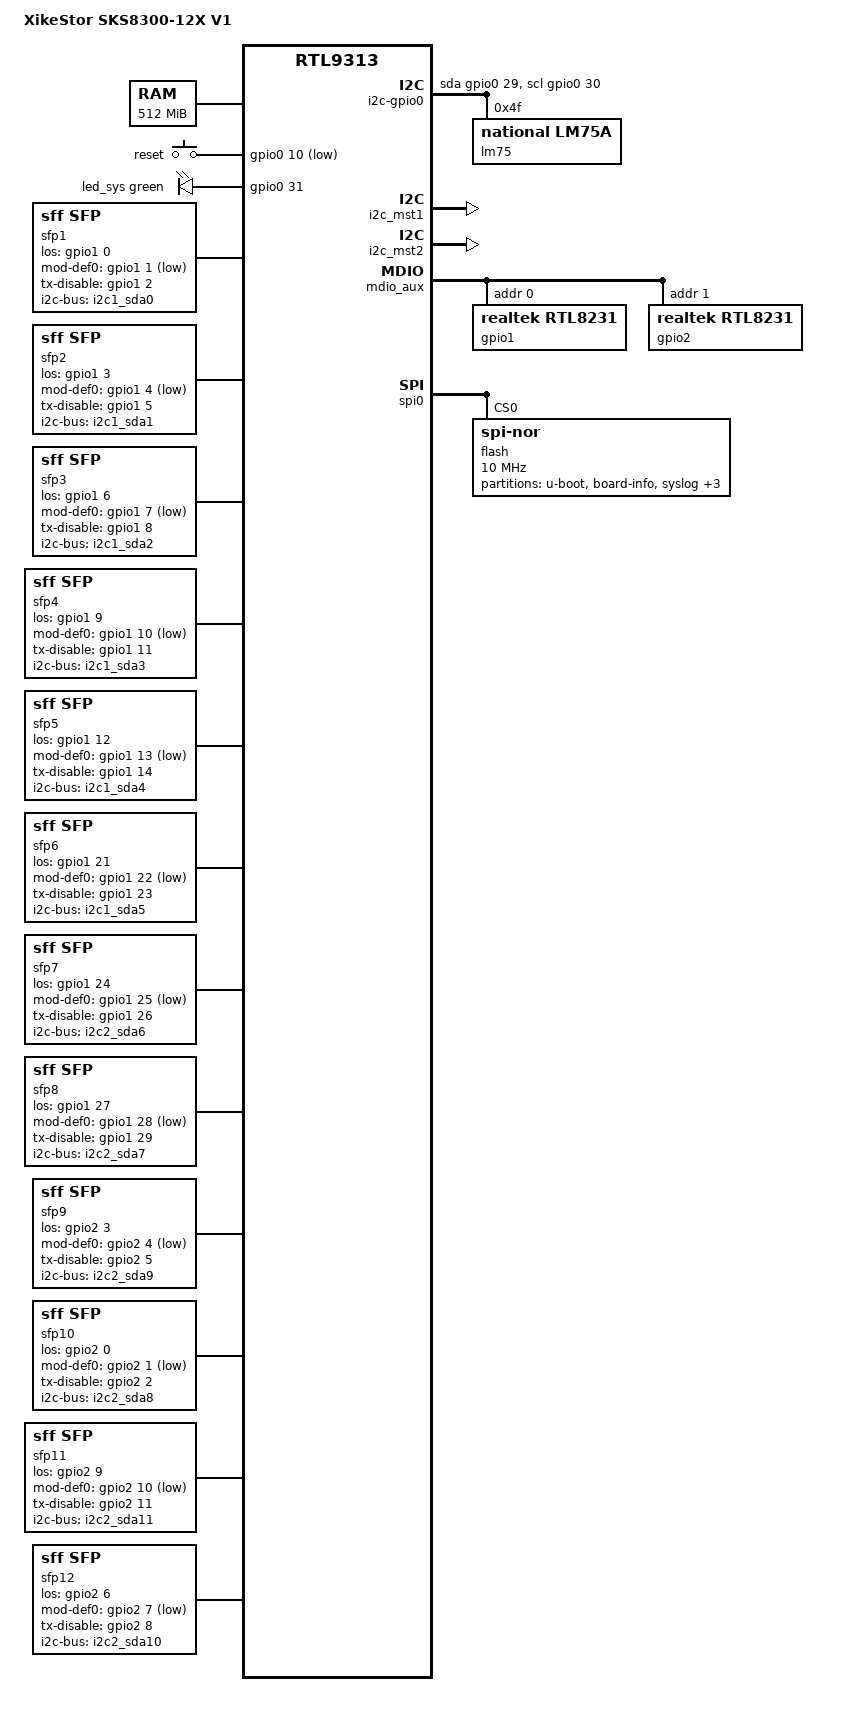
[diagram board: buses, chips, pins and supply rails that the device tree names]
// SPDX-License-Identifier: GPL-2.0-or-later

#include "rtl931x.dtsi"

#include <dt-bindings/input/input.h>
#include <dt-bindings/gpio/gpio.h>
#include <dt-bindings/leds/common.h>
#include <dt-bindings/phy/phy.h>

/ {
	compatible = "xikestor,sks8300-12x-v1", "realtek,rtl9313-soc";
	model = "XikeStor SKS8300-12X V1";

	memory@0 {
		device_type = "memory";
		reg = <0x00000000 0x10000000>, /* first 256 MiB */
		      <0x90000000 0x10000000>; /* remaining 256 MiB */
	};

	aliases {
		label-mac-device = &ethernet0;
		led-boot = &led_sys;
		led-failsafe = &led_sys;
		led-running = &led_sys;
		led-upgrade = &led_sys;
	};

	chosen {
		stdout-path = "serial0:115200n8";
	};

	keys {
		compatible = "gpio-keys";

		button-reset {
			label = "reset";
			gpios = <&gpio0 10 GPIO_ACTIVE_LOW>;
			linux,code = <KEY_RESTART>;
		};
	};

	leds {
		compatible = "gpio-leds";

		led_sys: led-0 {
			gpios = <&gpio0 31 GPIO_ACTIVE_HIGH>;
			color = <LED_COLOR_ID_GREEN>;
			function = LED_FUNCTION_STATUS;
		};
	};

	led_set {
		compatible = "realtek,rtl9300-leds";
		active-low;

		/* LED[0]: green | LED[1]: amber */
		led_set0 = <(RTL93XX_LED_SET_10G | RTL93XX_LED_SET_LINK |
			     RTL93XX_LED_SET_ACT)
			    (RTL93XX_LED_SET_2P5G | RTL93XX_LED_SET_1G |
			     RTL93XX_LED_SET_LINK | RTL93XX_LED_SET_ACT)>;
	};

	/*
	 * Diodes PT7A7514WE is fed by hardware-assisted SYS_LED. There is no
	 * real driver for this. However, this node causes a quirk being applied
	 * very early to avoid a reset during early boot.
	 */
	watchdog1: watchdog {
		compatible = "diodes,pt7a75xx-wdt";
	};

	i2c-gpio0 {
		compatible = "i2c-gpio";
		#address-cells = <1>;
		#size-cells = <0>;

		sda-gpios = <&gpio0 29 GPIO_ACTIVE_HIGH>;
		scl-gpios = <&gpio0 30 GPIO_ACTIVE_HIGH>;

		i2c-gpio,delay-us = <5>;	/* ~100 kHz */
		lm75: sensor@4f {
			compatible = "national,lm75a";
			reg = <0x4f>;
		};
	};

	sfp1: sfp-p1 {
		compatible = "sff,sfp";
		i2c-bus = <&i2c1_sda0>;
		los-gpio = <&gpio1 0 GPIO_ACTIVE_HIGH>;
		mod-def0-gpio = <&gpio1 1 GPIO_ACTIVE_LOW>;
		tx-disable-gpio = <&gpio1 2 GPIO_ACTIVE_HIGH>;
	};

	sfp2: sfp-p2 {
		compatible = "sff,sfp";
		i2c-bus = <&i2c1_sda1>;
		los-gpio = <&gpio1 3 GPIO_ACTIVE_HIGH>;
		mod-def0-gpio = <&gpio1 4 GPIO_ACTIVE_LOW>;
		tx-disable-gpio = <&gpio1 5 GPIO_ACTIVE_HIGH>;
	};

	sfp3: sfp-p3 {
		compatible = "sff,sfp";
		i2c-bus = <&i2c1_sda2>;
		los-gpio = <&gpio1 6 GPIO_ACTIVE_HIGH>;
		mod-def0-gpio = <&gpio1 7 GPIO_ACTIVE_LOW>;
		tx-disable-gpio = <&gpio1 8 GPIO_ACTIVE_HIGH>;
	};

	sfp4: sfp-p4 {
		compatible = "sff,sfp";
		i2c-bus = <&i2c1_sda3>;
		los-gpio = <&gpio1 9 GPIO_ACTIVE_HIGH>;
		mod-def0-gpio = <&gpio1 10 GPIO_ACTIVE_LOW>;
		tx-disable-gpio = <&gpio1 11 GPIO_ACTIVE_HIGH>;
	};

	sfp5: sfp-p5 {
		compatible = "sff,sfp";
		i2c-bus = <&i2c1_sda4>;
		los-gpio = <&gpio1 12 GPIO_ACTIVE_HIGH>;
		mod-def0-gpio = <&gpio1 13 GPIO_ACTIVE_LOW>;
		tx-disable-gpio = <&gpio1 14 GPIO_ACTIVE_HIGH>;
	};

	sfp6: sfp-p6 {
		compatible = "sff,sfp";
		i2c-bus = <&i2c1_sda5>;
		los-gpio = <&gpio1 21 GPIO_ACTIVE_HIGH>;
		mod-def0-gpio = <&gpio1 22 GPIO_ACTIVE_LOW>;
		tx-disable-gpio = <&gpio1 23 GPIO_ACTIVE_HIGH>;
	};

	sfp7: sfp-p7 {
		compatible = "sff,sfp";
		i2c-bus = <&i2c2_sda6>;
		los-gpio = <&gpio1 24 GPIO_ACTIVE_HIGH>;
		mod-def0-gpio = <&gpio1 25 GPIO_ACTIVE_LOW>;
		tx-disable-gpio = <&gpio1 26 GPIO_ACTIVE_HIGH>;
	};

	sfp8: sfp-p8 {
		compatible = "sff,sfp";
		i2c-bus = <&i2c2_sda7>;
		los-gpio = <&gpio1 27 GPIO_ACTIVE_HIGH>;
		mod-def0-gpio = <&gpio1 28 GPIO_ACTIVE_LOW>;
		tx-disable-gpio = <&gpio1 29 GPIO_ACTIVE_HIGH>;
	};

	sfp9: sfp-p9 {
		compatible = "sff,sfp";
		i2c-bus = <&i2c2_sda9>;
		los-gpio = <&gpio2 3 GPIO_ACTIVE_HIGH>;
		mod-def0-gpio = <&gpio2 4 GPIO_ACTIVE_LOW>;
		tx-disable-gpio = <&gpio2 5 GPIO_ACTIVE_HIGH>;
	};

	sfp10: sfp-p10 {
		compatible = "sff,sfp";
		i2c-bus = <&i2c2_sda8>;
		los-gpio = <&gpio2 0 GPIO_ACTIVE_HIGH>;
		mod-def0-gpio = <&gpio2 1 GPIO_ACTIVE_LOW>;
		tx-disable-gpio = <&gpio2 2 GPIO_ACTIVE_HIGH>;
	};

	sfp11: sfp-p11 {
		compatible = "sff,sfp";
		i2c-bus = <&i2c2_sda11>;
		los-gpio = <&gpio2 9 GPIO_ACTIVE_HIGH>;
		mod-def0-gpio = <&gpio2 10 GPIO_ACTIVE_LOW>;
		tx-disable-gpio = <&gpio2 11 GPIO_ACTIVE_HIGH>;
	};

	sfp12: sfp-p12 {
		compatible = "sff,sfp";
		i2c-bus = <&i2c2_sda10>;
		los-gpio = <&gpio2 6 GPIO_ACTIVE_HIGH>;
		mod-def0-gpio = <&gpio2 7 GPIO_ACTIVE_LOW>;
		tx-disable-gpio = <&gpio2 8 GPIO_ACTIVE_HIGH>;
	};
};

&i2c_mst1 {
	status = "okay";

	i2c1_sda0: i2c@0 {
		reg = <0>;
	};
	i2c1_sda1: i2c@1 {
		reg = <1>;
	};
	i2c1_sda2: i2c@2 {
		reg = <2>;
	};
	i2c1_sda3: i2c@3 {
		reg = <3>;
	};
	i2c1_sda4: i2c@4 {
		reg = <4>;
	};
	i2c1_sda5: i2c@5 {
		reg = <5>;
	};
};

&i2c_mst2 {
	status = "okay";

	i2c2_sda6: i2c@6 {
		reg = <6>;
	};
	i2c2_sda7: i2c@7 {
		reg = <7>;
	};
	i2c2_sda8: i2c@8 {
		reg = <8>;
	};
	i2c2_sda9: i2c@9 {
		reg = <9>;
	};
	i2c2_sda10: i2c@a {
		reg = <10>;
	};
	i2c2_sda11: i2c@b {
		reg = <11>;
	};
};

&mdio_aux {
	status = "okay";

	gpio1: gpio@0 {
		compatible = "realtek,rtl8231";
		reg = <0>;

		gpio-controller;
		#gpio-cells = <2>;
		gpio-ranges = <&gpio1 0 0 37>;

		led-controller {
			compatible = "realtek,rtl8231-leds";
			status = "disabled";
		};
	};

	gpio2: gpio@1 {
		compatible = "realtek,rtl8231";
		reg = <1>;

		gpio-controller;
		#gpio-cells = <2>;
		gpio-ranges = <&gpio2 0 0 37>;

		led-controller {
			compatible = "realtek,rtl8231-leds";
			status = "disabled";
		};
	};
};

&spi0 {
	status = "okay";

	flash@0 {
		compatible = "jedec,spi-nor";
		reg = <0>;
		spi-max-frequency = <10000000>;

		partitions {
			compatible = "fixed-partitions";
			#address-cells = <1>;
			#size-cells = <1>;

			partition@0 {
				label = "u-boot";
				reg = <0x0 0x100000>;
				read-only;
			};

			/* although this device uses u-boot, there is no u-boot-env
			 * partition. Information is taken from either baked-in
			 * default environment or data in 'board-info' in custom
			 * format.
			 * U-boot seems to be modified to also not provide 'saveenv'
			 * nor use a 'BDINFO' partition if it has been set manually.
			 */

			/* "flash_raw" on stock */
			partition@100000 {
				label = "board-info";
				reg = <0x100000 0x30000>;
				read-only;

				nvmem-layout {
					compatible = "fixed-layout";
					#address-cells = <1>;
					#size-cells = <1>;

					macaddr_vendor: macaddr@1f1 {
						compatible = "mac-base";
						reg = <0x1f1 0x6>;
						#nvmem-cell-cells = <1>;
					};
				};
			};

			partition@130000 {
				label = "syslog";
				reg = <0x130000 0xd0000>;
				read-only;
			};

			/* "flash_user" on stock */
			partition@200000 {
				compatible = "fixed-partitions";
				label = "firmware";
				reg = <0x200000 0x1e00000>;
				#address-cells = <1>;
				#size-cells = <1>;

				partition@0 {
					label = "kernel";
					reg = <0x0 0x800000>;
				};

				partition@800000 {
					label = "rootfs";
					reg = <0x800000 0x1600000>;
					linux,rootfs;
				};
			};
		};
	};
};

&ethernet0 {
	nvmem-cells = <&macaddr_vendor 0>;
	nvmem-cell-names = "mac-address";
};

&switch0 {
	ethernet-ports {
		#address-cells = <1>;
		#size-cells = <0>;

		SWITCH_PORT_SFP(0, 1, 2, 0, 1)
		SWITCH_PORT_SFP(8, 2, 3, 0, 2)
		SWITCH_PORT_SFP(16, 3, 4, 0, 3)
		SWITCH_PORT_SFP(24, 4, 5, 0, 4)
		SWITCH_PORT_SFP(32, 5, 6, 0, 5)
		SWITCH_PORT_SFP(40, 6, 7, 0, 6)
		SWITCH_PORT_SFP(48, 7, 8, 0, 7)
		SWITCH_PORT_SFP(50, 8, 9, 0, 8)
		SWITCH_PORT_SFP(52, 10, 10, 0, 10)
		SWITCH_PORT_SFP(53, 9, 11, 0, 9)
		SWITCH_PORT_SFP(54, 12, 12, 0, 12)
		SWITCH_PORT_SFP(55, 11, 13, 0, 11)

		/* CPU port */
		port@56 {
			ethernet = <&ethernet0>;
			reg = <56>;
			phy-mode = "internal";
			fixed-link {
				speed = <1000>;
				full-duplex;
			};
		};
	};
};

&serdes2 {
	tx-polarity = <PHY_POL_INVERT>;
};

&serdes3 {
	tx-polarity = <PHY_POL_INVERT>;
};

&serdes4 {
	tx-polarity = <PHY_POL_INVERT>;
};

&serdes5 {
	tx-polarity = <PHY_POL_INVERT>;
};

&serdes6 {
	tx-polarity = <PHY_POL_INVERT>;
};

&serdes7 {
	tx-polarity = <PHY_POL_INVERT>;
};

&serdes8 {
	tx-polarity = <PHY_POL_INVERT>;
};

&serdes9 {
	tx-polarity = <PHY_POL_INVERT>;
};

&serdes10 {
	tx-polarity = <PHY_POL_INVERT>;
};

&serdes11 {
	tx-polarity = <PHY_POL_INVERT>;
};

&serdes12 {
	tx-polarity = <PHY_POL_INVERT>;
};

&serdes13 {
	tx-polarity = <PHY_POL_INVERT>;
};

